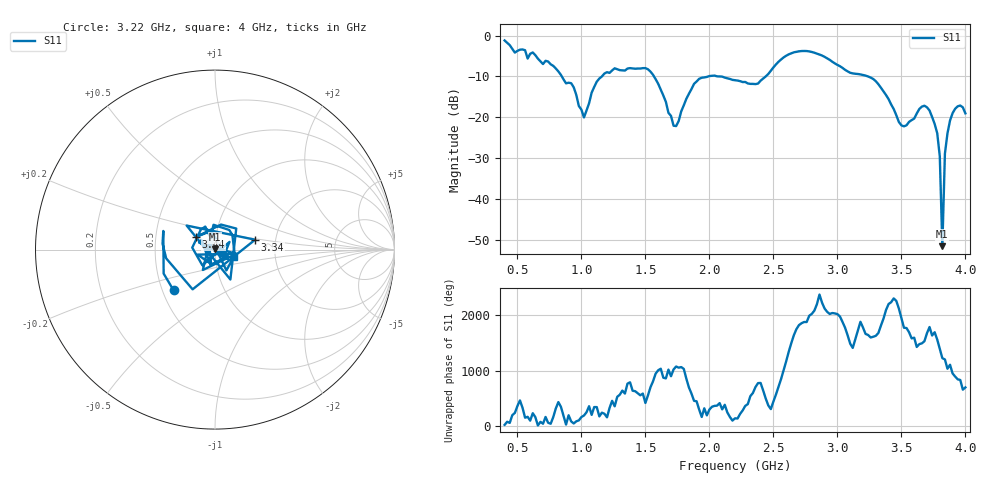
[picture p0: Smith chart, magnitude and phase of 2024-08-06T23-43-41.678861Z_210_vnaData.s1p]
!Created with skrf (http://scikit-rf.org).
# Hz S RI R 50.0
!freq ReS11 ImS11
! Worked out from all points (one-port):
!   181 points, 400 MHz to 4 GHz, reference 50 ohm
!   lowest |S11| = -51.5 dB at 3.82 GHz (marker M1), VSWR 1.01, Z = 49.8 + j0.145 ohm
!   |S11| at or under -10 dB: 1.567 GHz to 1.991 GHz (423.9 MHz wide, 23.8 % of centre); 2.071 GHz to 2.44 GHz (369.3 MHz wide, 16.4 % of centre); 3.239 GHz to end of sweep (the widest 3 of 4)
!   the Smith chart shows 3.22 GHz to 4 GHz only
!   S11 on the Smith chart (normalised r, x): 3.22 GHz: 0.57, -0.29; 3.34 GHz: 1.56, +0.18; 3.44 GHz: 0.80, +0.12; 4 GHz: 1.23, -0.10
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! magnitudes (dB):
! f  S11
! 400 MHz  -1.2
! 860 MHz  -10.7
! 940 MHz  -12.7
! 1.02 GHz  -20.0
! 1.12 GHz  -11.3
! 1.3 GHz  -8.5
! 1.52 GHz  -8.2
! 1.6 GHz  -11.8
! 1.72 GHz  -22.1
! 1.76 GHz  -20.9
! 1.92 GHz  -10.6
! 2.2 GHz  -10.9
! 2.38 GHz  -11.7
! 2.66 GHz  -4.1
! 3.1 GHz  -9.1
! 3.22 GHz  -9.8
! 3.34 GHz  -12.8
! 3.44 GHz  -18.0
! 3.5 GHz  -22.0
! 3.56 GHz  -21.1
! 3.68 GHz  -17.2
! 3.78 GHz  -23.9
! 3.8 GHz  -29.6
! 3.82 GHz  -51.5
! 3.84 GHz  -28.9
! 3.86 GHz  -23.9
! 3.92 GHz  -17.9
! 4 GHz  -19.0
